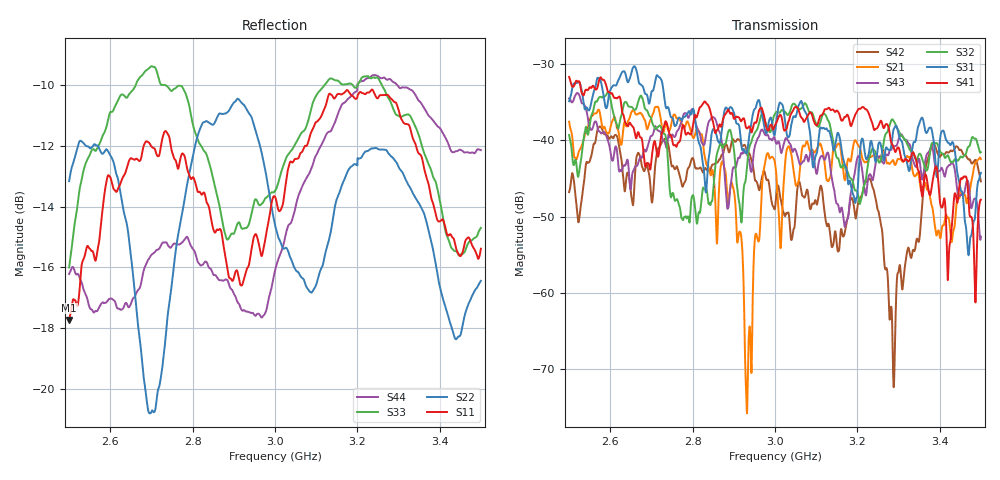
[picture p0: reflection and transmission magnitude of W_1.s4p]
!Keysight Technologies,N5222B,MY58422327,A.13.60.06
!Date: Monday, March 28, 2022 15:02:03
!Correction: S11(Full 4 Port(1,2,3,4))
!S12(Full 4 Port(1,2,3,4))
!S13(Full 4 Port(1,2,3,4))
!S14(Full 4 Port(1,2,3,4))
!S21(Full 4 Port(1,2,3,4))
!S22(Full 4 Port(1,2,3,4))
!S23(Full 4 Port(1,2,3,4))
!S24(Full 4 Port(1,2,3,4))
!S31(Full 4 Port(1,2,3,4))
!S32(Full 4 Port(1,2,3,4))
!S33(Full 4 Port(1,2,3,4))
!S34(Full 4 Port(1,2,3,4))
!S41(Full 4 Port(1,2,3,4))
!S42(Full 4 Port(1,2,3,4))
!S43(Full 4 Port(1,2,3,4))
!S44(Full 4 Port(1,2,3,4))
!S4P File: Measurements: <S11,S12,S13,S14>,
!<S21,S22,S23,S24>,
!<S31,S32,S33,S34>,
!<S41,S42,S43,S44>:
# Hz S  dB  R 50
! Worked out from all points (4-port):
!   2001 points, 2.5 GHz to 3.5 GHz, reference 50 ohm
!   strongest paths, dB at 2.5 GHz, 2.75 GHz, 3 GHz, 3.25 GHz, 3.5 GHz:
!     S41: -31.7, -39.9, -38.1, -38.3, -47.8
!     S31: -34.9, -37.0, -39.1, -40.8, -44.3
!     S32: -39.3, -47.0, -36.6, -42.6, -41.6
!     S43: -34.6, -39.3, -39.9, -42.2, -52.6
!     S21: -37.6, -37.3, -43.0, -42.3, -42.5
!     S42: -46.8, -43.4, -48.9, -49.2, -45.4
!   lowest |S11| = -17.7 dB at 2.5 GHz (marker M1), VSWR 1.30, Z = 62.9 + j7.08 ohm
!   |S11| at or under -10 dB: start of sweep to end of sweep
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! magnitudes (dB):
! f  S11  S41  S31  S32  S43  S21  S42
! 2.5 GHz  -17.7  -31.7  -34.9  -39.3  -34.6  -37.6  -46.8
! 2.874 GHz  -15.2  -37.2  -37.3  -40.9  -42.0  -43.0  -41.8
! 2.932 GHz  -16.1  -38.5  -41.7  -43.7  -41.8  -75.4  -41.4
! 2.982 GHz  -14.7  -38.7  -38.7  -38.3  -39.3  -41.7  -45.2
! 3.231 GHz  -10.2  -37.0  -40.5  -41.9  -44.5  -42.2  -45.1
! 3.288 GHz  -10.5  -41.0  -38.5  -37.5  -40.8  -42.9  -72.3
! 3.5 GHz  -15.4  -47.8  -44.3  -41.6  -52.6  -42.5  -45.4
